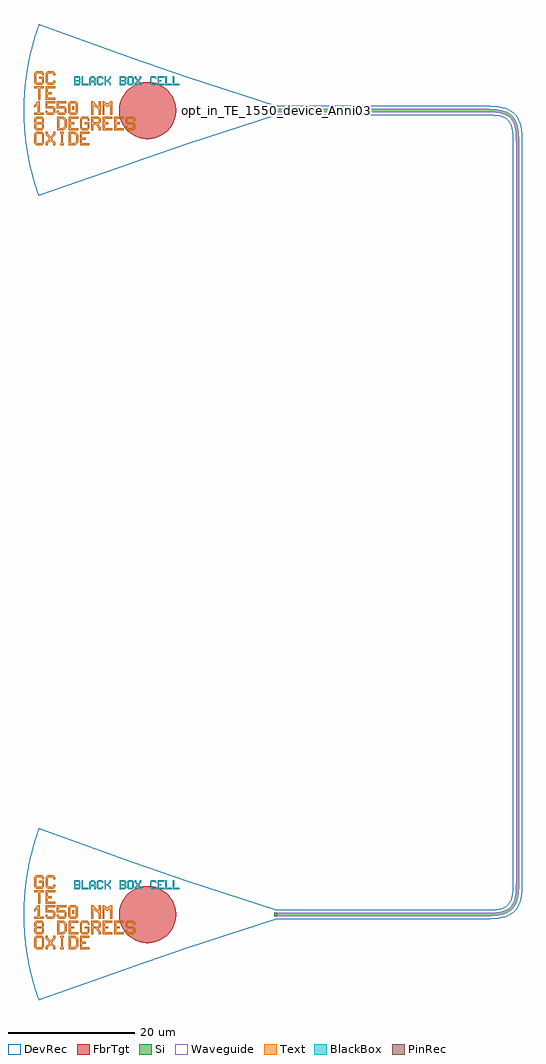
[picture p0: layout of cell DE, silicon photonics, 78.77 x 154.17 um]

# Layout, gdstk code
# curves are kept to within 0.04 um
import gdstk
lib = gdstk.Library(unit=1e-6, precision=1e-09)
def R(c, l, rs):  # rectangles x0, y0, x1, y1
    for r in rs: c.add(gdstk.rectangle(r[:2], r[2:], *l))
def P(c, l, *ps):  # polygons
    for p in ps: c.add(gdstk.Polygon(p, *l))
Si = (1, 0)
PinRec = (1, 10)
Waveguide = (1, 99)
Text = (10, 0)
DevRec = (68, 0)
FbrTgt = (81, 0)
BlackBox = (998, 0)

text = lib.new_cell('TEXT')
P(text, BlackBox, [(0,0),(0,1.4),(0.8,1.4),(1,1.2),(0.2,1.2),(0.2,0.8),(0.7,0.8),(0.8,0.9),(0.8,1.1),(0.7,1.2),(1,1.2),(1,0.8),(0.9,0.7),(1,0.6),(0.2,0.6),(0.2,0.2),(0.7,0.2),(0.8,0.3),(0.8,0.5),(0.7,0.6),(1,0.6),(1,0.2),(0.8,0)],
  [(1.2,0),(1.2,1.4),(1.4,1.4),(1.4,0.2),(2.2,0.2),(2.2,0)],
  [(2.4,0),(2.4,1.1),(2.7,1.4),(3.1,1.4),(3.3,1.2),(2.8,1.2),(2.6,1),(2.6,0.7),(3.2,0.7),(3.2,1),(3,1.2),(3.3,1.2),(3.4,1.1),(3.4,0),(3.2,0),(3.2,0.5),(2.6,0.5),(2.6,0)],
  [(3.8,0),(3.6,0.2),(3.6,1.2),(3.8,1.4),(4.4,1.4),(4.6,1.2),(4.6,1),(4.4,1),(4.4,1.1),(4.3,1.2),(3.9,1.2),(3.8,1.1),(3.8,0.3),(3.9,0.2),(4.3,0.2),(4.4,0.3),(4.4,0.4),(4.6,0.4),(4.6,0.2),(4.4,0)],
  [(4.8,0),(4.8,1.4),(5,1.4),(5,0.8),(5.2,0.8),(5.6,1.2),(5.6,1.4),(5.8,1.4),(5.8,1.1),(5.4,0.7),(5.8,0.3),(5.8,0),(5.6,0),(5.6,0.2),(5.2,0.6),(5,0.6),(5,0)],
  [(7.2,0),(7.2,1.4),(8,1.4),(8.2,1.2),(7.4,1.2),(7.4,0.8),(7.9,0.8),(8,0.9),(8,1.1),(7.9,1.2),(8.2,1.2),(8.2,0.8),(8.1,0.7),(8.2,0.6),(7.4,0.6),(7.4,0.2),(7.9,0.2),(8,0.3),(8,0.5),(7.9,0.6),(8.2,0.6),(8.2,0.2),(8,0)],
  [(8.6,0),(8.4,0.2),(8.4,1.2),(8.6,1.4),(9.2,1.4),(9.4,1.2),(9.4,0.7),(9.2,0.7),(9.2,1.1),(9.1,1.2),(8.7,1.2),(8.6,1.1),(8.6,0.3),(8.7,0.2),(9.1,0.2),(9.2,0.3),(9.2,0.7),(9.4,0.7),(9.4,0.2),(9.2,0)],
  [(9.6,0),(9.6,0.3),(9.9,0.6),(9.9,0.8),(9.6,1.1),(9.6,1.4),(9.8,1.4),(9.8,1.2),(10.1,0.9),(10.4,1.2),(10.4,1.4),(10.6,1.4),(10.6,1.1),(10.3,0.8),(10.3,0.6),(10.6,0.3),(10.6,0),(10.4,0),(10.4,0.2),(10.1,0.5),(9.8,0.2),(9.8,0)],
  [(12.2,0),(12,0.2),(12,1.2),(12.2,1.4),(12.8,1.4),(13,1.2),(13,1),(12.8,1),(12.8,1.1),(12.7,1.2),(12.3,1.2),(12.2,1.1),(12.2,0.3),(12.3,0.2),(12.7,0.2),(12.8,0.3),(12.8,0.4),(13,0.4),(13,0.2),(12.8,0)],
  [(13.2,0),(13.2,1.4),(14.2,1.4),(14.2,1.2),(13.4,1.2),(13.4,0.8),(13.8,0.8),(13.8,0.6),(13.4,0.6),(13.4,0.2),(14.2,0.2),(14.2,0)],
  [(14.4,0),(14.4,1.4),(14.6,1.4),(14.6,0.2),(15.4,0.2),(15.4,0)],
  [(15.6,0),(15.6,1.4),(15.8,1.4),(15.8,0.2),(16.6,0.2),(16.6,0)])

gc_te_1550_8degoxide_bb = lib.new_cell('GC_TE_1550_8degOxide_BB')
R(gc_te_1550_8degoxide_bb, Si, [(-0.4,-0.25,0,0.25)])
R(gc_te_1550_8degoxide_bb, Text, [(-32.313,0.092,-32.013,0.692)])
P(gc_te_1550_8degoxide_bb, Text, [(-37.67,1.71),(-37.67,3.51),(-38.27,3.51),(-38.27,3.81),(-36.77,3.81),(-36.77,3.51),(-37.37,3.51),(-37.37,1.71)],
  [(-37.97,-5.49),(-38.27,-5.19),(-38.27,-3.69),(-37.97,-3.39),(-37.07,-3.39),(-36.77,-3.69),(-36.77,-4.44),(-37.07,-4.44),(-37.07,-3.84),(-37.22,-3.69),(-37.82,-3.69),(-37.97,-3.84),(-37.97,-5.04),(-37.82,-5.19),(-37.22,-5.19),(-37.07,-5.04),(-37.07,-4.44),(-36.77,-4.44),(-36.77,-5.19),(-37.07,-5.49)],
  [(-31.07,-5.49),(-31.07,-3.39),(-29.57,-3.39),(-29.57,-3.69),(-30.77,-3.69),(-30.77,-4.29),(-30.17,-4.29),(-30.17,-4.59),(-30.77,-4.59),(-30.77,-5.19),(-29.57,-5.19),(-29.57,-5.49)],
  [(-32.87,-3.09),(-32.87,-0.99),(-31.37,-0.99),(-31.37,-1.29),(-32.57,-1.29),(-32.57,-1.89),(-31.97,-1.89),(-31.97,-2.19),(-32.57,-2.19),(-32.57,-2.79),(-31.37,-2.79),(-31.37,-3.09)],
  [(-27.47,-3.09),(-27.47,-0.99),(-25.97,-0.99),(-25.97,-1.29),(-27.17,-1.29),(-27.17,-1.89),(-26.57,-1.89),(-26.57,-2.19),(-27.17,-2.19),(-27.17,-2.79),(-25.97,-2.79),(-25.97,-3.09)],
  [(-25.67,-3.09),(-25.67,-0.99),(-24.17,-0.99),(-24.17,-1.29),(-25.37,-1.29),(-25.37,-1.89),(-24.77,-1.89),(-24.77,-2.19),(-25.37,-2.19),(-25.37,-2.79),(-24.17,-2.79),(-24.17,-3.09)],
  [(-36.47,1.71),(-36.47,3.81),(-34.97,3.81),(-34.97,3.51),(-36.17,3.51),(-36.17,2.91),(-35.57,2.91),(-35.57,2.61),(-36.17,2.61),(-36.17,2.01),(-34.97,2.01),(-34.97,1.71)],
  [(-29.313,-0.658),(-29.313,1.442),(-29.013,1.442),(-28.263,0.692),(-28.113,0.692),(-28.113,1.442),(-27.813,1.442),(-27.813,-0.658),(-28.113,-0.658),(-28.113,0.092),(-28.863,0.842),(-29.013,0.842),(-29.013,-0.658)],
  [(-34.22,-5.49),(-34.22,-5.19),(-34.07,-5.19),(-34.07,-3.69),(-34.22,-3.69),(-34.22,-3.39),(-33.62,-3.39),(-33.62,-3.69),(-33.77,-3.69),(-33.77,-5.19),(-33.62,-5.19),(-33.62,-5.49)],
  [(-36.17,4.11),(-36.47,4.41),(-36.47,5.91),(-36.17,6.21),(-35.27,6.21),(-34.97,5.91),(-34.97,5.61),(-35.27,5.61),(-35.27,5.76),(-35.42,5.91),(-36.02,5.91),(-36.17,5.76),(-36.17,4.56),(-36.02,4.41),(-35.42,4.41),(-35.27,4.56),(-35.27,4.71),(-34.97,4.71),(-34.97,4.41),(-35.27,4.11)],
  [(-27.513,-0.658),(-27.513,1.442),(-27.213,1.442),(-26.913,1.142),(-26.613,1.142),(-26.313,1.442),(-26.013,1.442),(-26.013,-0.658),(-26.313,-0.658),(-26.313,0.842),(-26.463,0.842),(-26.763,0.542),(-27.063,0.842),(-27.213,0.842),(-27.213,-0.658)],
  [(-32.613,-0.658),(-32.913,-0.358),(-32.913,1.142),(-32.613,1.442),(-31.713,1.442),(-31.413,1.142),(-32.463,1.142),(-32.613,0.992),(-32.613,-0.208),(-32.463,-0.358),(-31.863,-0.358),(-31.713,-0.208),(-31.713,0.992),(-31.863,1.142),(-31.413,1.142),(-31.413,-0.358),(-31.713,-0.658)],
  [(-32.87,-5.49),(-32.87,-3.39),(-31.82,-3.39),(-31.52,-3.69),(-32.57,-3.69),(-32.57,-5.19),(-31.97,-5.19),(-31.67,-4.89),(-31.67,-3.99),(-31.97,-3.69),(-31.52,-3.69),(-31.37,-3.84),(-31.37,-5.04),(-31.82,-5.49)],
  [(-34.67,-3.09),(-34.67,-0.99),(-33.62,-0.99),(-33.32,-1.29),(-34.37,-1.29),(-34.37,-2.79),(-33.77,-2.79),(-33.47,-2.49),(-33.47,-1.59),(-33.77,-1.29),(-33.32,-1.29),(-33.17,-1.44),(-33.17,-2.64),(-33.62,-3.09)],
  [(-23.57,-3.09),(-23.87,-2.79),(-23.87,-2.49),(-23.57,-2.49),(-23.57,-2.64),(-23.42,-2.79),(-22.82,-2.79),(-22.67,-2.64),(-22.67,-2.34),(-22.82,-2.19),(-23.57,-2.19),(-23.87,-1.89),(-23.87,-1.29),(-23.57,-0.99),(-22.67,-0.99),(-22.37,-1.29),(-22.37,-1.59),(-22.67,-1.59),(-22.67,-1.44),(-22.82,-1.29),(-23.42,-1.29),(-23.57,-1.44),(-23.57,-1.74),(-23.42,-1.89),(-22.67,-1.89),(-22.37,-2.19),(-22.37,-2.79),(-22.67,-3.09)],
  [(-36.213,-0.658),(-36.513,-0.358),(-36.513,-0.058),(-36.213,-0.058),(-36.213,-0.208),(-36.063,-0.358),(-35.463,-0.358),(-35.313,-0.208),(-35.313,0.242),(-35.463,0.392),(-36.513,0.392),(-36.513,1.442),(-35.013,1.442),(-35.013,1.142),(-36.213,1.142),(-36.213,0.692),(-35.313,0.692),(-35.013,0.392),(-35.013,-0.358),(-35.313,-0.658)],
  [(-34.413,-0.658),(-34.713,-0.358),(-34.713,-0.058),(-34.413,-0.058),(-34.413,-0.208),(-34.263,-0.358),(-33.663,-0.358),(-33.513,-0.208),(-33.513,0.242),(-33.663,0.392),(-34.713,0.392),(-34.713,1.442),(-33.213,1.442),(-33.213,1.142),(-34.413,1.142),(-34.413,0.692),(-33.513,0.692),(-33.213,0.392),(-33.213,-0.358),(-33.513,-0.658)],
  [(-37.97,-3.09),(-38.27,-2.79),(-38.27,-2.19),(-38.12,-2.04),(-38.27,-1.89),(-38.27,-1.29),(-37.97,-0.99),(-37.07,-0.99),(-36.77,-1.29),(-37.82,-1.29),(-37.97,-1.44),(-37.97,-1.74),(-37.82,-1.89),(-37.22,-1.89),(-37.07,-1.74),(-37.07,-1.44),(-37.22,-1.29),(-36.77,-1.29),(-36.77,-1.89),(-36.92,-2.04),(-36.77,-2.19),(-37.82,-2.19),(-37.97,-2.34),(-37.97,-2.64),(-37.82,-2.79),(-37.22,-2.79),(-37.07,-2.64),(-37.07,-2.34),(-37.22,-2.19),(-36.77,-2.19),(-36.77,-2.79),(-37.07,-3.09)],
  [(-38.313,-0.658),(-38.313,-0.358),(-37.713,-0.358),(-37.713,0.842),(-37.863,0.842),(-38.163,0.542),(-38.313,0.542),(-38.313,0.842),(-37.713,1.442),(-37.413,1.442),(-37.413,-0.358),(-36.813,-0.358),(-36.813,-0.658)],
  [(-36.47,-5.49),(-36.47,-5.04),(-36.02,-4.59),(-36.02,-4.29),(-36.47,-3.84),(-36.47,-3.39),(-36.17,-3.39),(-36.17,-3.69),(-35.72,-4.14),(-35.27,-3.69),(-35.27,-3.39),(-34.97,-3.39),(-34.97,-3.84),(-35.42,-4.29),(-35.42,-4.59),(-34.97,-5.04),(-34.97,-5.49),(-35.27,-5.49),(-35.27,-5.19),(-35.72,-4.74),(-36.17,-5.19),(-36.17,-5.49)],
  [(-30.77,-3.09),(-31.07,-2.79),(-31.07,-1.29),(-30.77,-0.99),(-29.87,-0.99),(-29.57,-1.29),(-29.57,-1.59),(-29.87,-1.59),(-29.87,-1.44),(-30.02,-1.29),(-30.62,-1.29),(-30.77,-1.44),(-30.77,-2.64),(-30.62,-2.79),(-30.02,-2.79),(-29.87,-2.64),(-29.87,-2.19),(-30.32,-2.19),(-30.32,-1.89),(-29.57,-1.89),(-29.57,-2.79),(-29.87,-3.09)],
  [(-37.97,4.11),(-38.27,4.41),(-38.27,5.91),(-37.97,6.21),(-37.07,6.21),(-36.77,5.91),(-36.77,5.61),(-37.07,5.61),(-37.07,5.76),(-37.22,5.91),(-37.82,5.91),(-37.97,5.76),(-37.97,4.56),(-37.82,4.41),(-37.22,4.41),(-37.07,4.56),(-37.07,5.01),(-37.52,5.01),(-37.52,5.31),(-36.77,5.31),(-36.77,4.41),(-37.07,4.11)],
  [(-29.27,-3.09),(-29.27,-0.99),(-28.07,-0.99),(-27.77,-1.29),(-28.97,-1.29),(-28.97,-1.89),(-28.22,-1.89),(-28.07,-1.74),(-28.07,-1.44),(-28.22,-1.29),(-27.77,-1.29),(-27.77,-1.89),(-28.07,-2.19),(-28.07,-2.34),(-27.77,-2.64),(-27.77,-3.09),(-28.07,-3.09),(-28.07,-2.79),(-28.67,-2.19),(-28.97,-2.19),(-28.97,-3.09)])
P(gc_te_1550_8degoxide_bb, DevRec, [(-37.607,-13.5),(-38.627,-10.245),(-39.378,-6.832),(-39.647,-5.058),(-39.835,-3.274),(-39.969,0.224),(-39.812,3.541),(-39.331,7.097),(-38.557,10.505),(-37.546,13.669),(-22.8,8.353),(-14.109,5.36),(0,0.75),(0,-0.75),(-14.109,-5.36)])
P(gc_te_1550_8degoxide_bb, FbrTgt, [(-20.621,-4.5),(-21.495,-4.37),(-22.326,-4.073),(-23.084,-3.619),(-23.738,-3.026),(-24.264,-2.316),(-24.642,-1.518),(-24.857,-0.661),(-24.9,0.221),(-24.77,1.095),(-24.473,1.926),(-24.019,2.684),(-23.426,3.338),(-22.716,3.864),(-21.918,4.242),(-21.061,4.457),(-20.179,4.5),(-19.305,4.37),(-18.474,4.073),(-17.716,3.619),(-17.062,3.026),(-16.536,2.316),(-16.158,1.518),(-15.943,0.661),(-15.9,-0.221),(-16.03,-1.095),(-16.327,-1.926),(-16.781,-2.684),(-17.374,-3.338),(-18.084,-3.864),(-18.882,-4.242),(-19.739,-4.457)])
gc_te_1550_8degoxide_bb.add(gdstk.FlexPath([(-0.01,0),(0.01,0)], 0.5, ends="flush", simple_path=True, layer=1, datatype=10))  # PinRec
gc_te_1550_8degoxide_bb.add(gdstk.Reference(text, (-32,4)))
gc_te_1550_8degoxide_bb.add(gdstk.Label('opt1', (0,0), layer=1, texttype=10))
gc_te_1550_8degoxide_bb.add(gdstk.Label('Lumerical_INTERCONNECT_library=Design kits/ebeam', (-29,-7), layer=68, texttype=0))
gc_te_1550_8degoxide_bb.add(gdstk.Label('Component=GC_TE_1550_8degOxide_BB', (-28,-5), layer=68, texttype=0))

waveguide_4 = lib.new_cell('Waveguide$4')
P(waveguide_4, Si, [(-238.14,41.33),(-238.14,41.83),(-203.882,41.869),(-202.609,42.059),(-201.995,42.267),(-201.595,42.487),(-201.266,42.757),(-200.995,43.087),(-200.603,43.968),(-200.392,45.195),(-200.339,46.58),(-200.339,163.58),(-200.393,164.966),(-200.604,166.193),(-200.996,167.074),(-201.343,167.477),(-201.689,167.733),(-202.61,168.102),(-204.068,168.303),(-238.14,168.33),(-238.14,168.83),(-204.868,168.829),(-203.476,168.757),(-202.339,168.546),(-201.792,168.35),(-201.209,168.013),(-200.823,167.663),(-200.442,167.124),(-200.214,166.613),(-200.015,165.873),(-199.895,165.012),(-199.844,164.018),(-199.839,46.58),(-199.912,44.967),(-200.123,43.83),(-200.319,43.283),(-200.656,42.7),(-201.006,42.314),(-201.428,42),(-201.921,41.756),(-202.485,41.575),(-204.039,41.358)])
P(waveguide_4, Waveguide, [(-238.14,41.33),(-238.14,41.83),(-203.882,41.869),(-202.609,42.059),(-201.995,42.267),(-201.595,42.487),(-201.266,42.757),(-200.995,43.087),(-200.603,43.968),(-200.392,45.195),(-200.339,46.58),(-200.339,163.58),(-200.393,164.966),(-200.604,166.193),(-200.996,167.074),(-201.343,167.477),(-201.689,167.733),(-202.61,168.102),(-204.068,168.303),(-238.14,168.33),(-238.14,168.83),(-204.868,168.829),(-203.476,168.757),(-202.339,168.546),(-201.792,168.35),(-201.209,168.013),(-200.823,167.663),(-200.442,167.124),(-200.214,166.613),(-200.015,165.873),(-199.895,165.012),(-199.844,164.018),(-199.839,46.58),(-199.912,44.967),(-200.123,43.83),(-200.319,43.283),(-200.656,42.7),(-201.006,42.314),(-201.428,42),(-201.921,41.756),(-202.485,41.575),(-204.039,41.358)])
P(waveguide_4, DevRec, [(-238.14,40.83),(-238.14,42.33),(-205.089,42.33),(-203.344,42.428),(-202.193,42.726),(-201.713,43.023),(-201.374,43.422),(-201.114,44.005),(-200.936,44.836),(-200.839,46.58),(-200.839,163.58),(-200.937,165.325),(-201.115,166.156),(-201.235,166.476),(-201.532,166.956),(-201.714,167.138),(-202.194,167.435),(-203.345,167.733),(-204.44,167.82),(-238.14,167.83),(-238.14,169.33),(-205.089,169.33),(-203.137,169.219),(-202.062,168.985),(-201.139,168.569),(-200.74,168.278),(-200.101,167.531),(-199.867,167.09),(-199.549,166.09),(-199.35,164.282),(-199.339,46.58),(-199.45,44.628),(-199.684,43.553),(-200.1,42.63),(-200.391,42.231),(-201.138,41.592),(-202.061,41.176),(-202.579,41.04),(-203.738,40.877),(-205.089,40.83)])
waveguide_4.add(gdstk.FlexPath([(-238.13,168.58),(-238.15,168.58)], 0.5, ends="flush", simple_path=True, layer=1, datatype=10))  # PinRec
waveguide_4.add(gdstk.FlexPath([(-238.13,41.58),(-238.15,41.58)], 0.5, ends="flush", simple_path=True, layer=1, datatype=10))  # PinRec
waveguide_4.add(gdstk.Label('opt1', (-238.14,168.58), layer=1, texttype=10))
waveguide_4.add(gdstk.Label('opt2', (-238.14,41.58), layer=1, texttype=10))
waveguide_4.add(gdstk.Label('Lumerical_INTERCONNECT_library=Design kits/EBeam', (-238.14,168.48), layer=68, texttype=0))
waveguide_4.add(gdstk.Label('Component=ebeam_wg_integral_1550', (-238.14,168.68), layer=68, texttype=0))
waveguide_4.add(gdstk.Label('cellName=Waveguide', (-238.14,168.78), layer=68, texttype=0))
waveguide_4.add(gdstk.Label('Spice_param:wg_length=0.000199999 wg_width=5e-07 points="[[-238.14,168.58],[-200.089,168.58],[-200.089,41.58],[-238.14,41.58]]" radius=5e-06', (-238.14,168.58), layer=68, texttype=0))
waveguide_4.add(gdstk.Label('Length=199.999 (microns)', (-238.14,167.98), layer=68, texttype=0))
waveguide_4.add(gdstk.Label('waveguide_type=Strip TE 1550 nm, w=500 nm', (-238.14,168.38), layer=68, texttype=0))

c_de = lib.new_cell('DE')
r = gdstk.Reference(gc_te_1550_8degoxide_bb, (39.969,13.5)); r.repetition = gdstk.Repetition(1, 2, v1=(0,0), v2=(0,127)); c_de.add(r)
c_de.add(gdstk.Reference(waveguide_4, (278.109,-28.08)))
c_de.add(gdstk.Label('opt_in_TE_1550_device_Anni0311_DE', (39.969,140.47), layer=10, texttype=0))

lib.write_gds('DE.gds')
